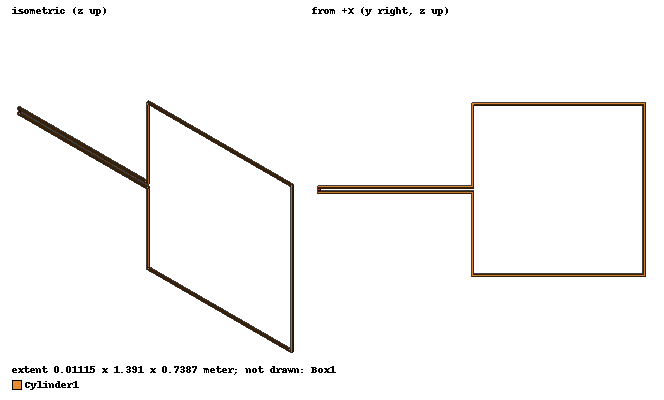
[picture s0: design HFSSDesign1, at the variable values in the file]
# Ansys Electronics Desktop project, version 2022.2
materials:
  vacuum: permittivity=1
  copper: permeability=0.999991 conductivity=58000000
  air: permittivity=1.0006 permeability=1.0000004

design HFSSDesign1 (HFSS, DrivenModal, model units meter)
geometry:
  Cylinder1 [copper] = cylinder(axis=Z, base_centre=(0meter, 0meter, (0.7275/2) meter), radius=0.005575meter, height=-0.7275meter)
  Cylinder2 = cylinder(axis=Z, base_centre=(0meter, 0.7275meter, (0.7275/2) meter), radius=0.005575meter, height=-0.7275meter)
  Cylinder3 = cylinder(axis=Y, base_centre=(0meter, 0meter, (0.7275/2) meter), radius=0.005575meter, height=0.7275meter)
  Cylinder4 = cylinder(axis=Y, base_centre=(0meter, 0meter, (-0.7275/2) meter), radius=0.005575meter, height=0.7275meter)
  Cylinder5 = cylinder(axis=Z, base_centre=(0meter, 0meter, (-0.005575*2) meter), radius=0.005575meter, height=(0.005575*4) meter)
  Cylinder1.subtract(Cylinder5)
  Cylinder6 = cylinder(axis=Y, base_centre=(0meter, 0meter, (0.005575*2) meter), radius=0.005575meter, height=-0.6575meter)
  Cylinder7 = cylinder(axis=Y, base_centre=(0meter, 0meter, (-0.005575*2) meter), radius=0.005575meter, height=-0.6575meter)
  Sphere1 = sphere(centre=(0meter, 0meter, (0.005575*2) meter), radius=0.005575meter)
  Sphere2 = sphere(centre=(0meter, 0meter, (-0.005575*2) meter), radius=0.005575meter)
  Sphere3 = sphere(centre=(0meter, 0meter, (-0.7275/2) meter), radius=0.005575meter)
  Sphere4 = sphere(centre=(0meter, 0meter, (0.7275/2) meter), radius=0.005575meter)
  Sphere5 = sphere(centre=(0meter, 0.7275meter, (0.7275/2) meter), radius=0.005575meter)
  Sphere6 = sphere(centre=(0meter, 0.7275meter, (-0.7275/2) meter), radius=0.005575meter)
  Cylinder1.unite(Cylinder2, Cylinder3, Cylinder4, Cylinder6, Cylinder7, Sphere1..Sphere6)
  Rectangle1 = rectangle(corner=(0meter, -0.6575meter, 0.005575meter), y_size=(0.005575*2) meter, z_size=(-0.005575*2) meter)
  Box1 [air] = box(corner=(-1.5meter, -1.5meter, -1.5meter), size=(3meter, 3meter, 3meter))
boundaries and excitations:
  Rad1: Radiation Objects=Box1
  1: Lumped Port Objects=Rectangle1 Modes{Mode1{IntLine{(0, -0.651925, -0.005575) -> (0, -0.651925, 0.005575)} CharImp=Zpi RenormImp=50ohm}} Impedance=50ohm
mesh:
  initial mesh: GlobalSurfApproximation{CurvedSurfaceApproxChoice=UseSlider SliderMeshSettings=1}
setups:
  Setup1: HfssDriven Frequency=135MHz MaxDeltaS=0.02 MaximumPasses=20 MinimumPasses=1 MinimumConvergedPasses=1 PercentRefinement=30 BasisOrder=1 PortAccuracy=2 DrivenSolverType="Direct Solver"
    sweep Sweep: 67.5MHz to 202.5MHz, 401 points; Type=Fast SaveFields
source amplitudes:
  1:1: 1W 0deg
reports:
  S Parameter Plot 1: dB(S(1,1)) vs Freq on Setup1 : Sweep; markers m2 at 135.3375MHz
